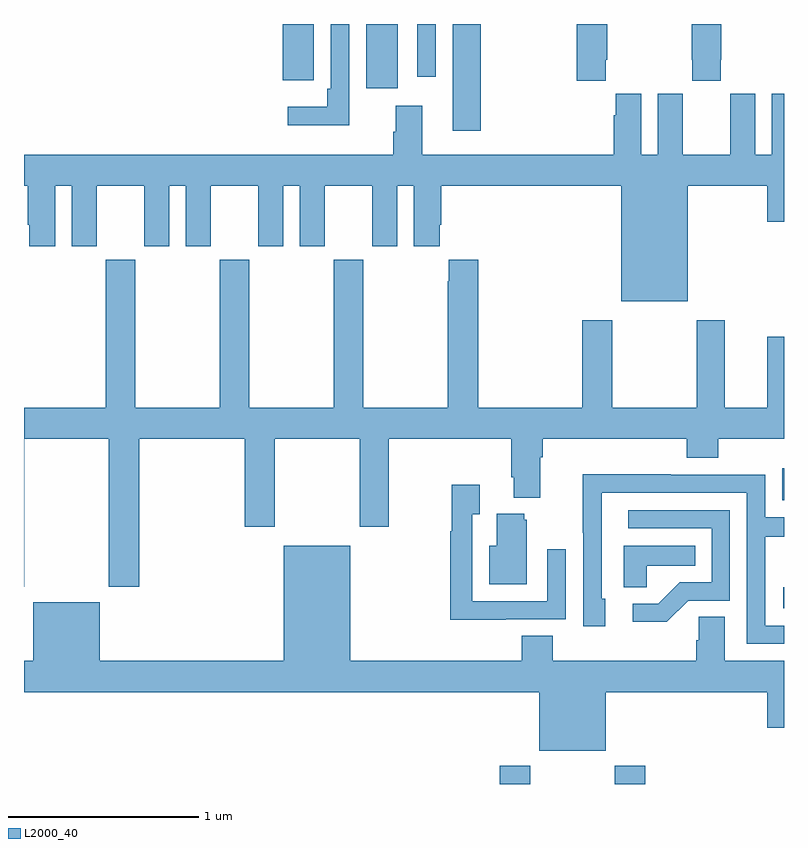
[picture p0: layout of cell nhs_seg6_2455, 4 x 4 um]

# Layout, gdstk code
import gdstk
lib = gdstk.Library(unit=1e-6, precision=1e-09)
def R(c, l, rs):  # rectangles x0, y0, x1, y1
    for r in rs: c.add(gdstk.rectangle(r[:2], r[2:], *l))
def P(c, l, *ps):  # polygons
    for p in ps: c.add(gdstk.Polygon(p, *l))
L2000_40 = (2000, 40)

nhs_seg6_2455 = lib.new_cell('nhs_seg6_2455')
R(nhs_seg6_2455, L2000_40, [(259.505,965.5,259.665,965.596), (260.11,965.5,260.27,965.596), (260.997,966.425,261,966.535), (260.991,966.993,261,967.162), (259.256,968.937,259.403,969.5), (258.8,969.162,258.967,969.5), (258.362,969.203,258.526,969.5), (259.071,969.222,259.167,969.5)])
P(nhs_seg6_2455, L2000_40, [(260.063,969.313),(260.07,969.313),(260.07,969.5),(259.91,969.5),(259.91,969.201),(260.063,969.201)],
  [(260.667,969.313),(260.67,969.313),(260.67,969.5),(260.515,969.5),(260.515,969.313),(260.517,969.313),(260.517,969.201),(260.667,969.201)],
  [(258.711,969.5),(258.615,969.5),(258.615,969.16),(258.595,969.16),(258.595,969.064),(258.387,969.064),(258.387,968.966),(258.711,968.966)],
  [(260.494,968.648),(260.912,968.648),(260.912,968.46),(261,968.46),(261,969.133),(260.936,969.133),(260.936,968.812),(260.848,968.812),(260.848,969.133),(260.718,969.133),(260.718,969.02),(260.717,969.02),(260.717,968.812),(260.467,968.812),(260.467,969.02),(260.466,969.02),(260.466,969.133),(260.336,969.133),(260.336,968.812),(260.248,968.812),(260.248,969.133),(260.114,969.133),(260.114,969.02),(260.105,969.02),(260.105,968.812),(259.096,968.812),(259.096,969.07),(258.956,969.07),(258.956,968.933),(258.944,968.933),(258.944,968.812),(257,968.812),(257,968.648),(257.021,968.648),(257.021,968.443),(257.027,968.443),(257.027,968.331),(257.164,968.331),(257.164,968.648),(257.252,968.648),(257.252,968.331),(257.383,968.331),(257.383,968.648),(257.633,968.648),(257.633,968.331),(257.764,968.331),(257.764,968.648),(257.852,968.648),(257.852,968.331),(257.983,968.331),(257.983,968.648),(258.233,968.648),(258.233,968.331),(258.364,968.331),(258.364,968.648),(258.452,968.648),(258.452,968.331),(258.583,968.331),(258.583,968.648),(258.833,968.648),(258.833,968.331),(258.964,968.331),(258.964,968.648),(259.052,968.648),(259.052,968.331),(259.189,968.331),(259.189,968.443),(259.196,968.443),(259.196,968.648),(260.144,968.648),(260.144,968.042),(260.494,968.042)],
  [(260.541,967.48),(260.097,967.48),(260.097,967.942),(259.937,967.942),(259.937,967.48),(259.391,967.48),(259.391,968.26),(259.235,968.26),(259.235,968.147),(259.231,968.147),(259.231,967.48),(258.786,967.48),(258.786,968.26),(258.631,968.26),(258.631,967.48),(258.186,967.48),(258.186,968.26),(258.031,968.26),(258.031,967.48),(257.586,967.48),(257.586,968.26),(257.431,968.26),(257.431,967.48),(257,967.48),(257,966.537),(257.001,966.537),(257.001,967.316),(257.446,967.316),(257.446,966.537),(257.606,966.537),(257.606,967.316),(258.161,967.316),(258.161,966.855),(258.321,966.855),(258.321,967.316),(258.766,967.316),(258.766,966.855),(258.921,966.855),(258.921,967.316),(259.565,967.316),(259.565,967.114),(259.577,967.114),(259.577,967.007),(259.717,967.007),(259.717,967.22),(259.73,967.22),(259.73,967.316),(260.489,967.316),(260.489,967.217),(260.654,967.217),(260.654,967.316),(261,967.316),(261,967.855),(260.912,967.855),(260.912,967.48),(260.689,967.48),(260.689,967.942),(260.541,967.942)],
  [(261,966.333),(260.901,966.333),(260.901,966.802),(261,966.802),(261,966.903),(260.901,966.903),(260.901,967.128),(260.405,967.128),(260.405,967.13),(259.942,967.13),(259.942,966.823),(259.944,966.823),(259.944,966.33),(260.059,966.33),(260.059,966.474),(260.04,966.474),(260.04,967.032),(260.805,967.032),(260.805,966.237),(261,966.237)],
  [(259.535,966.366),(259.851,966.366),(259.851,966.736),(259.755,966.736),(259.755,966.462),(259.359,966.462),(259.359,966.919),(259.399,966.919),(259.399,967.075),(259.251,967.075),(259.251,966.83),(259.243,966.83),(259.243,966.365),(259.535,966.365)],
  [(260.496,966.465),(260.715,966.465),(260.715,966.942),(260.181,966.942),(260.181,966.846),(260.619,966.846),(260.619,966.561),(260.45,966.561),(260.339,966.45),(260.205,966.45),(260.205,966.353),(260.383,966.353)],
  [(259.645,966.891),(259.634,966.891),(259.634,966.922),(259.487,966.922),(259.487,966.754),(259.448,966.754),(259.448,966.551),(259.645,966.551)],
  [(260.277,966.65),(260.534,966.65),(260.534,966.754),(260.156,966.754),(260.156,966.535),(260.277,966.535)],
  [(260.062,965.984),(260.912,965.984),(260.912,965.796),(261,965.796),(261,966.148),(260.689,966.148),(260.689,966.38),(260.55,966.38),(260.55,966.257),(260.537,966.257),(260.537,966.148),(259.784,966.148),(259.784,966.281),(259.619,966.281),(259.619,966.148),(258.718,966.148),(258.718,966.754),(258.368,966.754),(258.368,966.148),(257.398,966.148),(257.398,966.457),(257.048,966.457),(257.048,966.148),(257,966.148),(257,965.984),(259.712,965.984),(259.712,965.675),(260.062,965.675)])

lib.write_gds('nhs_seg6_2455.gds')
